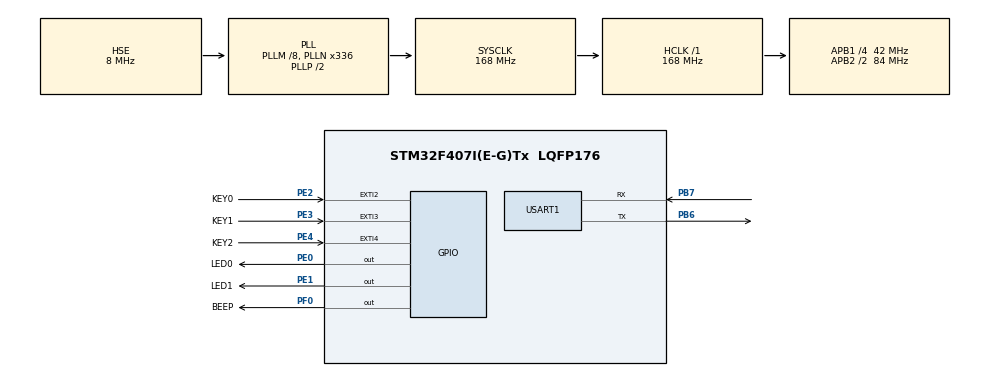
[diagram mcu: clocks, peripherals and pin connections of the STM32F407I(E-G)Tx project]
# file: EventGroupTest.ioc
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FREERTOS.BinarySemaphores01=CpuPrintfBinarySem,Dynamic,NULL;PrBinarySem,Dynamic,NULL
FREERTOS.CountingSemaphores01=KeyCountingSem,4,Dynamic,NULL
FREERTOS.INCLUDE_vTaskDelayUntil=1
FREERTOS.INCLUDE_xTimerPendFunctionCall=1
FREERTOS.MEMORY_ALLOCATION=2
FREERTOS.Mutexes01=PrMutex,Dynamic,NULL
FREERTOS.Queues01=CmdQueue,20,uint8_t,0,Dynamic,NULL,NULL
FREERTOS.RecursiveMutexes01=myRecursiveMutex,Dynamic,NULL
FREERTOS.Tasks01=UsartTask,-2,128,Usart_Task,Default,NULL,Static,UsartTaskBuffer,UsartTaskControlBlock;Led0Task,0,128,Led0_Task,Default,NULL,Dynamic,NULL,NULL;KeyTask,0,128,Key0_Task,Default,NULL,Dynamic,NULL,NULL;DelayTask,-2,128,Delay_Task,Default,NULL,Dynamic,NULL,NULL;HighTask,2,128,High_Task,Default,NULL,Dynamic,NULL,NULL;MiddleTask,0,128,Middle_Task,Default,NULL,Dynamic,NULL,NULL;LowTask,-2,128,Low_Task,Default,NULL,Dynamic,NULL,NULL
FREERTOS.configCHECK_FOR_STACK_OVERFLOW=1
FREERTOS.configGENERATE_RUN_TIME_STATS=1
FREERTOS.configUSE_COUNTING_SEMAPHORES=1
FREERTOS.configUSE_RECURSIVE_MUTEXES=1
FREERTOS.configUSE_STATS_FORMATTING_FUNCTIONS=1
FREERTOS.configUSE_TIMERS=1
FREERTOS.configUSE_TRACE_FACILITY=1
Mcu.Family=STM32F4
Mcu.Name=STM32F407I(E-G)Tx
Mcu.Package=LQFP176
NVIC.EXTI2_IRQn=true\:5\:0\:false\:false\:true\:true\:true\:true\:true
NVIC.EXTI3_IRQn=true\:5\:0\:false\:false\:true\:true\:true\:true\:true
NVIC.EXTI4_IRQn=true\:5\:0\:false\:false\:true\:true\:true\:true\:true
NVIC.PriorityGroup=NVIC_PRIORITYGROUP_4
NVIC.TIM1_UP_TIM10_IRQn=true\:0\:0\:true\:false\:true\:false\:false\:true\:true
NVIC.TIM6_DAC_IRQn=true\:5\:0\:false\:false\:true\:true\:true\:true\:true
NVIC.TimeBase=TIM1_UP_TIM10_IRQn
NVIC.TimeBaseIP=TIM1
NVIC.USART1_IRQn=true\:5\:0\:false\:false\:true\:true\:true\:true\:true
PA13.Mode=Serial_Wire
PA13.Signal=SYS_JTMS-SWDIO
PA14.Mode=Serial_Wire
PA14.Signal=SYS_JTCK-SWCLK
PB6.Mode=Asynchronous
PB6.Signal=USART1_TX
PB7.Mode=Asynchronous
PB7.Signal=USART1_RX
PE0.GPIO_Label=LED0
PE0.GPIO_Speed=GPIO_SPEED_FREQ_HIGH
PE0.PinState=GPIO_PIN_SET
PE0.Signal=GPIO_Output
PE1.GPIO_Label=LED1
PE1.GPIO_Speed=GPIO_SPEED_FREQ_HIGH
PE1.PinState=GPIO_PIN_SET
PE1.Signal=GPIO_Output
PE2.GPIO_Label=KEY0
PE2.GPIO_ModeDefaultEXTI=GPIO_MODE_IT_RISING_FALLING
PE2.GPIO_PuPd=GPIO_PULLUP
PE2.Signal=GPXTI2
PE3.GPIO_Label=KEY1
PE3.GPIO_ModeDefaultEXTI=GPIO_MODE_IT_RISING_FALLING
PE3.GPIO_PuPd=GPIO_PULLUP
PE3.Signal=GPXTI3
PE4.GPIO_Label=KEY2
PE4.GPIO_ModeDefaultEXTI=GPIO_MODE_IT_RISING_FALLING
PE4.GPIO_PuPd=GPIO_PULLUP
PE4.Signal=GPXTI4
PF0.GPIO_Label=BEEP
PF0.GPIO_PuPd=GPIO_PULLUP
PF0.GPIO_Speed=GPIO_SPEED_FREQ_HIGH
PF0.PinState=GPIO_PIN_RESET
PF0.Signal=GPIO_Output
PH0-OSC_IN.Mode=HSE-External-Oscillator
PH0-OSC_IN.Signal=RCC_OSC_IN
PH1-OSC_OUT.Mode=HSE-External-Oscillator
PH1-OSC_OUT.Signal=RCC_OSC_OUT
ProjectManager.HeapSize=0x200
ProjectManager.StackSize=0x400
ProjectManager.TargetToolchain=MDK-ARM V5.32
RCC.48MHZClocksFreq_Value=84000000
RCC.AHBFreq_Value=168000000
RCC.APB1CLKDivider=RCC_HCLK_DIV4
RCC.APB1Freq_Value=42000000
RCC.APB1TimFreq_Value=84000000
RCC.APB2CLKDivider=RCC_HCLK_DIV2
RCC.APB2Freq_Value=84000000
RCC.APB2TimFreq_Value=168000000
RCC.CortexFreq_Value=168000000
RCC.HCLKFreq_Value=168000000
RCC.HSE_VALUE=8000000
RCC.HSI_VALUE=16000000
RCC.LSE_VALUE=32768
RCC.PLLM=8
RCC.PLLN=336
RCC.PLLSourceVirtual=RCC_PLLSOURCE_HSE
RCC.SYSCLKFreq_VALUE=168000000
RCC.SYSCLKSource=RCC_SYSCLKSOURCE_PLLCLK
RCC.VCOOutputFreq_Value=336000000
TIM6.Period=10-1
TIM6.Prescaler=8400-1
USART1.VirtualMode=VM_ASYNC
VP_FREERTOS_VS_CMSIS_V1.Mode=CMSIS_V1
VP_SYS_VS_tim1.Mode=TIM1
VP_TIM6_VS_ClockSourceINT.Mode=Enable_Timer
board=custom

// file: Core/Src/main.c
/* USER CODE BEGIN Header */
/**
  ******************************************************************************
  * @file           : main.c
  * @brief          : Main program body
  ******************************************************************************
  * @attention
  *
  * Copyright (c) 2024 STMicroelectronics.
  * All rights reserved.
  *
  * This software is licensed under terms that can be found in the LICENSE file
  * in the root directory of this software component.
  * If no LICENSE file comes with this software, it is provided AS-IS.
  *
  ******************************************************************************
  */
/* USER CODE END Header */
#include "main.h"
#include "cmsis_os.h"
#include "tim.h"
#include "usart.h"
#include "gpio.h"

/* USER CODE BEGIN Includes */
#include <stdio.h>
/* USER CODE END Includes */

/* USER CODE BEGIN PV */
extern uint32_t u32TimeCount;
/* USER CODE END PV */

void SystemClock_Config(void);
void MX_FREERTOS_Init(void);

int main(void)
{

  /* MCU Configuration--------------------------------------------------------*/

  /* Reset of all peripherals, Initializes the Flash interface and the Systick. */
  HAL_Init();

  /* Configure the system clock */
  SystemClock_Config();

  /* Initialize all configured peripherals */
  MX_GPIO_Init();
  MX_USART1_UART_Init();
  MX_TIM6_Init();
  /* USER CODE BEGIN 2 */
	//printf("Usart test!");
  /* USER CODE END 2 */

  /* Call init function for freertos objects (in cmsis_os2.c) */
  MX_FREERTOS_Init();

  /* Start scheduler */
  osKernelStart();

  /* We should never get here as control is now taken by the scheduler */

  /* Infinite loop */
  while (1)
  {

  }
}

void SystemClock_Config(void)
{
  RCC_OscInitTypeDef RCC_OscInitStruct = {0};
  RCC_ClkInitTypeDef RCC_ClkInitStruct = {0};

  /** Configure the main internal regulator output voltage
  */
  __HAL_RCC_PWR_CLK_ENABLE();
  __HAL_PWR_VOLTAGESCALING_CONFIG(PWR_REGULATOR_VOLTAGE_SCALE1);

  /** Initializes the RCC Oscillators according to the specified parameters
  * in the RCC_OscInitTypeDef structure.
  */
  RCC_OscInitStruct.OscillatorType = RCC_OSCILLATORTYPE_HSE;
  RCC_OscInitStruct.HSEState = RCC_HSE_ON;
  RCC_OscInitStruct.PLL.PLLState = RCC_PLL_ON;
  RCC_OscInitStruct.PLL.PLLSource = RCC_PLLSOURCE_HSE;
  RCC_OscInitStruct.PLL.PLLM = 8;
  RCC_OscInitStruct.PLL.PLLN = 336;
  RCC_OscInitStruct.PLL.PLLP = RCC_PLLP_DIV2;
  RCC_OscInitStruct.PLL.PLLQ = 4;
  if (HAL_RCC_OscConfig(&RCC_OscInitStruct) != HAL_OK)
  {
    Error_Handler();
  }

  /** Initializes the CPU, AHB and APB buses clocks
  */
  RCC_ClkInitStruct.ClockType = RCC_CLOCKTYPE_HCLK|RCC_CLOCKTYPE_SYSCLK
                              |RCC_CLOCKTYPE_PCLK1|RCC_CLOCKTYPE_PCLK2;
  RCC_ClkInitStruct.SYSCLKSource = RCC_SYSCLKSOURCE_PLLCLK;
  RCC_ClkInitStruct.AHBCLKDivider = RCC_SYSCLK_DIV1;
  RCC_ClkInitStruct.APB1CLKDivider = RCC_HCLK_DIV4;
  RCC_ClkInitStruct.APB2CLKDivider = RCC_HCLK_DIV2;

  if (HAL_RCC_ClockConfig(&RCC_ClkInitStruct, FLASH_LATENCY_5) != HAL_OK)
  {
    Error_Handler();
  }
}

/* USER CODE BEGIN 4 */
//printf
int fputc(int ch, FILE *f)
{
    while((USART1->SR & 0X40)==0);
    USART1->DR = (uint8_t) ch;
    return ch;
}
/* USER CODE END 4 */

void HAL_TIM_PeriodElapsedCallback(TIM_HandleTypeDef *htim)
{
  if (htim->Instance == TIM1) {
    HAL_IncTick();
  }
  /* USER CODE BEGIN Callback 1 */
	if (htim->Instance == TIM6) {

  }

  /* USER CODE END Callback 1 */
}

void Error_Handler(void)
{
  __disable_irq();
  while (1)
  {
  }
}

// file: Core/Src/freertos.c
/* USER CODE BEGIN Header */
/**
  ******************************************************************************
  * File Name          : freertos.c
  * Description        : Code for freertos applications
  ******************************************************************************
  * @attention
  *
  * Copyright (c) 2024 STMicroelectronics.
  * All rights reserved.
  *
  * This software is licensed under terms that can be found in the LICENSE file
  * in the root directory of this software component.
  * If no LICENSE file comes with this software, it is provided AS-IS.
  *
  ******************************************************************************
  */
/* USER CODE END Header */

#include "FreeRTOS.h"
#include "task.h"
#include "main.h"
#include "cmsis_os.h"

/* USER CODE BEGIN Includes */
#include "gpio.h"
#include "string.h"
#include "tim.h"
#include "string.h"
#include "event_groups.h"
/* USER CODE END Includes */

/* USER CODE BEGIN Variables */
extern teKeyStatus KeyStatus;
uint8_t u8TaskListBuffer[400];  //保存任务列表的缓冲区
extern uint32_t u32TimeCount;  //定时器统计值
uint8_t u8CmdBuffer[20];  //队列接收缓冲区
EventGroupHandle_t KeyEventGroupHandle_t;
/* USER CODE END Variables */
osThreadId UsartTaskHandle;
uint32_t UsartTaskBuffer[ 128 ];
osStaticThreadDef_t UsartTaskControlBlock;
osThreadId Led0TaskHandle;
osThreadId KeyTaskHandle;
osThreadId DelayTaskHandle;
osThreadId HighTaskHandle;
osThreadId MiddleTaskHandle;
osThreadId LowTaskHandle;
osMessageQId CmdQueueHandle;
osMutexId PrMutexHandle;
osMutexId myRecursiveMutexHandle;
osSemaphoreId CpuPrintfBinarySemHandle;
osSemaphoreId PrBinarySemHandle;
osSemaphoreId KeyCountingSemHandle;

void Usart_Task(void const * argument);
void Led0_Task(void const * argument);
void Key0_Task(void const * argument);
void Delay_Task(void const * argument);
void High_Task(void const * argument);
void Middle_Task(void const * argument);
void Low_Task(void const * argument);

void MX_FREERTOS_Init(void); /* (MISRA C 2004 rule 8.1) */

/* GetIdleTaskMemory prototype (linked to static allocation support) */
void vApplicationGetIdleTaskMemory( StaticTask_t **ppxIdleTaskTCBBuffer, StackType_t **ppxIdleTaskStackBuffer, uint32_t *pulIdleTaskStackSize );

/* GetTimerTaskMemory prototype (linked to static allocation support) */
void vApplicationGetTimerTaskMemory( StaticTask_t **ppxTimerTaskTCBBuffer, StackType_t **ppxTimerTaskStackBuffer, uint32_t *pulTimerTaskStackSize );

/* Hook prototypes */
void configureTimerForRunTimeStats(void);
unsigned long getRunTimeCounterValue(void);
void vApplicationStackOverflowHook(xTaskHandle xTask, signed char *pcTaskName);

/* USER CODE BEGIN 1 */
/* Functions needed when configGENERATE_RUN_TIME_STATS is on */
__weak void configureTimerForRunTimeStats(void)
{
	//1. 开启定时器6的中断——启动定时器
	//2. 定时器统计值，初始化为0
	HAL_TIM_Base_Stop_IT(&htim6);  //参数：TIM_HandleTypeDef* 类型的定时器句柄指针(在tim.c中)
	u32TimeCount = 0ul;
}

__weak unsigned long getRunTimeCounterValue(void)
{
	return u32TimeCount;
}
/* USER CODE END 1 */

/* USER CODE BEGIN 4 */
__weak void vApplicationStackOverflowHook(xTaskHandle xTask, signed char *pcTaskName)
{
	 printf("%s is Stack OverFlow!\r\n", pcTaskName);
   /* Run time stack overflow checking is performed if
   configCHECK_FOR_STACK_OVERFLOW is defined to 1 or 2. This hook function is
   called if a stack overflow is detected. */
}
//模拟栈溢出
void vStackOverFlowTest(void){
	uint8_t u8TestBuffer[128];
	int16_t i;
	(void)u8TestBuffer;
	for(i = 360; i >= 0; i--){
		u8TestBuffer[i] = 0x88;
	}
}
/* USER CODE END 4 */

/* USER CODE BEGIN GET_IDLE_TASK_MEMORY */
static StaticTask_t xIdleTaskTCBBuffer;
static StackType_t xIdleStack[configMINIMAL_STACK_SIZE];

void vApplicationGetIdleTaskMemory( StaticTask_t **ppxIdleTaskTCBBuffer, StackType_t **ppxIdleTaskStackBuffer, uint32_t *pulIdleTaskStackSize )
{
  *ppxIdleTaskTCBBuffer = &xIdleTaskTCBBuffer;
  *ppxIdleTaskStackBuffer = &xIdleStack[0];
  *pulIdleTaskStackSize = configMINIMAL_STACK_SIZE;
  /* place for user code */
}
/* USER CODE END GET_IDLE_TASK_MEMORY */

/* USER CODE BEGIN GET_TIMER_TASK_MEMORY */
static StaticTask_t xTimerTaskTCBBuffer;
static StackType_t xTimerStack[configTIMER_TASK_STACK_DEPTH];

void vApplicationGetTimerTaskMemory( StaticTask_t **ppxTimerTaskTCBBuffer, StackType_t **ppxTimerTaskStackBuffer, uint32_t *pulTimerTaskStackSize )
{
  *ppxTimerTaskTCBBuffer = &xTimerTaskTCBBuffer;
  *ppxTimerTaskStackBuffer = &xTimerStack[0];
  *pulTimerTaskStackSize = configTIMER_TASK_STACK_DEPTH;
  /* place for user code */
}
/* USER CODE END GET_TIMER_TASK_MEMORY */

void MX_FREERTOS_Init(void) {
  /* USER CODE BEGIN Init */
	//创建事件标志组
	KeyEventGroupHandle_t = xEventGroupCreate();
	/* Was the event group created successfully? */
	if( KeyEventGroupHandle_t == NULL )
	{
		/* The event group was not created because there was insufficient
		FreeRTOS heap available. */
		printf("xEventGroupCreate Failed !\n");
	}
	else
	{
		/* The event group was created. */
	}
  /* USER CODE END Init */
  /* Create the mutex(es) */
  /* definition and creation of PrMutex */
  osMutexDef(PrMutex);
  PrMutexHandle = osMutexCreate(osMutex(PrMutex));

  /* Create the recursive mutex(es) */
  /* definition and creation of myRecursiveMutex */
  osMutexDef(myRecursiveMutex);
  myRecursiveMutexHandle = osRecursiveMutexCreate(osMutex(myRecursiveMutex));

  /* Create the semaphores(s) */
  /* definition and creation of CpuPrintfBinarySem */
  osSemaphoreDef(CpuPrintfBinarySem);
  CpuPrintfBinarySemHandle = osSemaphoreCreate(osSemaphore(CpuPrintfBinarySem), 1);

  /* definition and creation of PrBinarySem */
  osSemaphoreDef(PrBinarySem);
  PrBinarySemHandle = osSemaphoreCreate(osSemaphore(PrBinarySem), 1);

  /* definition and creation of KeyCountingSem */
  osSemaphoreDef(KeyCountingSem);
  KeyCountingSemHandle = osSemaphoreCreate(osSemaphore(KeyCountingSem), 4);

  /* Create the queue(s) */
  /* definition and creation of CmdQueue */
  osMessageQDef(CmdQueue, 20, uint8_t);
  CmdQueueHandle = osMessageCreate(osMessageQ(CmdQueue), NULL);

  /* Create the thread(s) */
  /* definition and creation of UsartTask */
  osThreadStaticDef(UsartTask, Usart_Task, osPriorityLow, 0, 128, UsartTaskBuffer, &UsartTaskControlBlock);
  UsartTaskHandle = osThreadCreate(osThread(UsartTask), NULL);

  /* definition and creation of Led0Task */
  osThreadDef(Led0Task, Led0_Task, osPriorityNormal, 0, 128);
  Led0TaskHandle = osThreadCreate(osThread(Led0Task), NULL);

  /* definition and creation of KeyTask */
  osThreadDef(KeyTask, Key0_Task, osPriorityNormal, 0, 128);
  KeyTaskHandle = osThreadCreate(osThread(KeyTask), NULL);

  /* definition and creation of DelayTask */
  osThreadDef(DelayTask, Delay_Task, osPriorityLow, 0, 128);
  DelayTaskHandle = osThreadCreate(osThread(DelayTask), NULL);

  /* definition and creation of HighTask */
  osThreadDef(HighTask, High_Task, osPriorityHigh, 0, 128);
  HighTaskHandle = osThreadCreate(osThread(HighTask), NULL);

  /* definition and creation of MiddleTask */
  osThreadDef(MiddleTask, Middle_Task, osPriorityNormal, 0, 128);
  MiddleTaskHandle = osThreadCreate(osThread(MiddleTask), NULL);

  /* definition and creation of LowTask */
  osThreadDef(LowTask, Low_Task, osPriorityLow, 0, 128);
  LowTaskHandle = osThreadCreate(osThread(LowTask), NULL);

}

void Usart_Task(void const * argument)
{
  /* USER CODE BEGIN Usart_Task */
  /* Infinite loop */
	uint8_t u8Index;
	uint8_t str_len;
	uint8_t pin_port;
  for(;;)
  {
		u8Index = 0;  //每次读取消息前，索引初始化0
		if(xQueueReceive(CmdQueueHandle, &u8CmdBuffer[u8Index++], portMAX_DELAY) == pdPASS){
			while(xQueueReceive(CmdQueueHandle, &u8CmdBuffer[u8Index++], 50)){}  //115200 8bit 数据包最大值是255Bytes 每秒可传输数据11520字 50ms则可以576字
			u8CmdBuffer[u8Index] = '\0';  //字符串结束标记
			printf("%s\n", u8CmdBuffer);
			//printf("strncmp((char*)u8CmdBuffer, openled, 7) -> %d\n", strncmp((char*)u8CmdBuffer, "openled", 7));
			//数据解析
			str_len = strlen((char*)u8CmdBuffer);  //获取命令长度
			//printf("str_len %d\n", str_len);
			if(strncmp((char*)u8CmdBuffer, "openled", 7) == 0){
				pin_port = u8CmdBuffer[str_len-1] - 48;  //ascii ‘0’- 0 = 48
				printf("pin_port %d\n", pin_port);
				if(pin_port == 0)	HAL_GPIO_WritePin(LED0_GPIO_Port, LED0_Pin, GPIO_PIN_RESET);  // 点亮LED_{pin_port}
				else if(pin_port == 1)	HAL_GPIO_WritePin(LED1_GPIO_Port, LED1_Pin, GPIO_PIN_RESET);  // 点亮LED_{pin_port}
				else printf("cmd is illegal!\n");
			}
			if(strncmp((char*)u8CmdBuffer, "closeled", 8) == 0){
				pin_port = u8CmdBuffer[str_len-1] - 48;  //ascii ‘0’- 0 = 48
				printf("pin_port %d\n", pin_port);
				if(pin_port == 0)	HAL_GPIO_WritePin(LED0_GPIO_Port, LED0_Pin, GPIO_PIN_SET);  // 关闭LED_{pin_port}
				else if(pin_port == 1)	HAL_GPIO_WritePin(LED1_GPIO_Port, LED1_Pin, GPIO_PIN_SET);  // 关闭LED_{pin_port}
				else printf("cmd is illegal!\n");
			}
		}
    osDelay(5000);
  }
  /* USER CODE END Usart_Task */
}

void Led0_Task(void const * argument)
{
  /* USER CODE BEGIN Led0_Task */
  /* Infinite loop */
  for(;;)
  {
		osDelay(50000);
  }
  /* USER CODE END Led0_Task */
}

void Key0_Task(void const * argument)
{
  /* USER CODE BEGIN Key0_Task */
  /* Infinite loop */
  for(;;)
  {
		osDelay(500);
  }
  /* USER CODE END Key0_Task */
}

void Delay_Task(void const * argument)
{
  /* USER CODE BEGIN Delay_Task */
  /* Infinite loop */
	TickType_t WakeTime = xTaskGetTickCount();  //系统上一次节拍值
  for(;;)
  {
    vTaskDelayUntil(&WakeTime, 5000);
  }
  /* USER CODE END Delay_Task */
}

void High_Task(void const * argument)
{
  /* USER CODE BEGIN High_Task */
  /* Infinite loop */
  for(;;)
  {
    //等待事件标志组置位
		EventBits_t x = xEventGroupWaitBits(
		KeyEventGroupHandle_t,  //句柄
		KEY0_EVENT_BIT|KEY1_EVENT_BIT|KEY2_EVENT_BIT,  //检测的位
		pdTRUE,  //是否退出是否清除标志
		pdTRUE,  //是否等待所有标志位
		portMAX_DELAY  //最大等待时间
		);
		if(x == (KEY0_EVENT_BIT|KEY1_EVENT_BIT|KEY2_EVENT_BIT)){
			printf("KEYx is all down!KeyEventGroupBits:%x\n", x);
			HAL_GPIO_TogglePin(BEEP_GPIO_Port, BEEP_Pin);
		}
    osDelay(100);
  }
  /* USER CODE END High_Task */
}

void Middle_Task(void const * argument)
{
  /* USER CODE BEGIN Middle_Task */
  /* Infinite loop */
  for(;;)
  {
		osDelay(500);
  }
  /* USER CODE END Middle_Task */
}

void Low_Task(void const * argument)
{
  /* USER CODE BEGIN Low_Task */
  /* Infinite loop */
  for(;;)
  {
		//等待事件标志组置位
		EventBits_t x = xEventGroupWaitBits(
		KeyEventGroupHandle_t,  //句柄
		KEY0_EVENT_BIT|KEY1_EVENT_BIT|KEY2_EVENT_BIT,  //检测的位
		pdFALSE,  //是否退出是否清除标志
		pdFALSE,  //是否等待所有标志位
		portMAX_DELAY  //最大等待时间
		);
		printf("KEYx is down!KeyEventGroupBits:%x\n", x);
    osDelay(100);
  }
  /* USER CODE END Low_Task */
}
